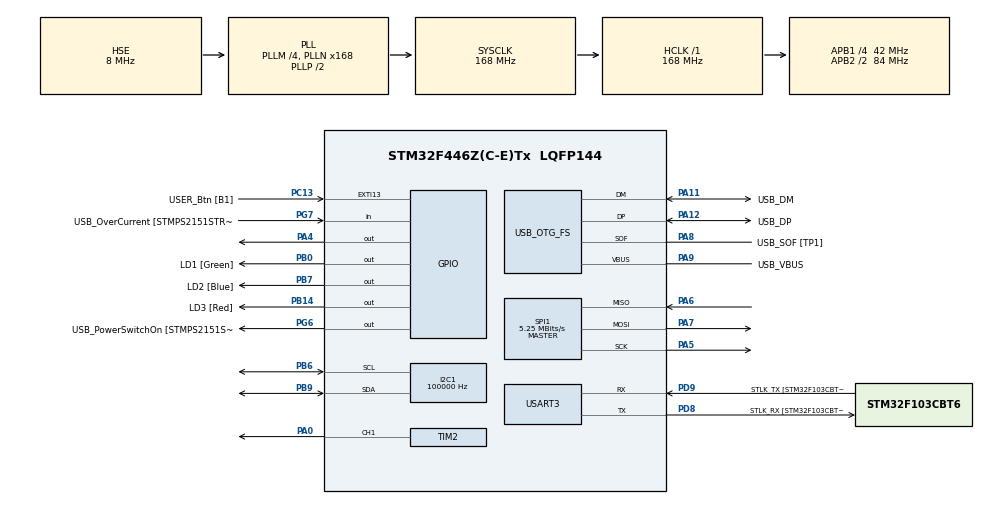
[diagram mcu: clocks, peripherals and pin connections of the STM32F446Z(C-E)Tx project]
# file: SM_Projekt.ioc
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I2C1.ClockSpeed=100000
Mcu.Family=STM32F4
Mcu.Name=STM32F446Z(C-E)Tx
Mcu.Package=LQFP144
NVIC.PriorityGroup=NVIC_PRIORITYGROUP_4
NVIC.SPI1_IRQn=true\:0\:0\:false\:false\:true\:true\:true
NVIC.TIM2_IRQn=true\:0\:0\:false\:false\:true\:true\:true
NVIC.TIM7_IRQn=true\:0\:0\:false\:false\:true\:true\:true
NVIC.USART3_IRQn=true\:0\:0\:false\:false\:true\:true\:true
PA0-WKUP.Signal=S_TIM2_CH1_ETR
PA10.GPIO_Label=USB_ID
PA10.Signal=USB_OTG_FS_ID
PA11.GPIO_Label=USB_DM
PA11.Mode=Device_Only
PA11.Signal=USB_OTG_FS_DM
PA12.GPIO_Label=USB_DP
PA12.Mode=Device_Only
PA12.Signal=USB_OTG_FS_DP
PA13.GPIO_Label=TMS
PA13.Mode=Serial_Wire
PA13.Signal=SYS_JTMS-SWDIO
PA14.GPIO_Label=TCK
PA14.Mode=Serial_Wire
PA14.Signal=SYS_JTCK-SWCLK
PA4.Signal=GPIO_Output
PA5.Mode=Full_Duplex_Master
PA5.Signal=SPI1_SCK
PA6.Mode=Full_Duplex_Master
PA6.Signal=SPI1_MISO
PA7.Mode=Full_Duplex_Master
PA7.Signal=SPI1_MOSI
PA8.GPIO_Label=USB_SOF [TP1]
PA8.Mode=Activate_SOF_FS
PA8.Signal=USB_OTG_FS_SOF
PA9.GPIO_Label=USB_VBUS
PA9.Mode=Activate_VBUS
PA9.Signal=USB_OTG_FS_VBUS
PB0.GPIO_Label=LD1 [Green]
PB0.Signal=GPIO_Output
PB14.GPIO_Label=LD3 [Red]
PB14.Signal=GPIO_Output
PB6.Mode=I2C
PB6.Signal=I2C1_SCL
PB7.GPIO_Label=LD2 [Blue]
PB7.Signal=GPIO_Output
PB9.Mode=I2C
PB9.Signal=I2C1_SDA
PC13.GPIO_Label=USER_Btn [B1]
PC13.Signal=GPXTI13
PC14-OSC32_IN.Mode=LSE-External-Oscillator
PC14-OSC32_IN.Signal=RCC_OSC32_IN
PC15-OSC32_OUT.Mode=LSE-External-Oscillator
PC15-OSC32_OUT.Signal=RCC_OSC32_OUT
PD8.GPIO_Label=STLK_RX [STM32F103CBT6_PA3]
PD8.Mode=Asynchronous
PD8.Signal=USART3_TX
PD9.GPIO_Label=STLK_TX [STM32F103CBT6_PA2]
PD9.Mode=Asynchronous
PD9.Signal=USART3_RX
PG6.GPIO_Label=USB_PowerSwitchOn [STMPS2151STR_EN]
PG6.Signal=GPIO_Output
PG7.GPIO_Label=USB_OverCurrent [STMPS2151STR_FAULT]
PG7.Signal=GPIO_Input
PH0-OSC_IN.GPIO_Label=MCO [STM32F103CBT6_PA8]
PH0-OSC_IN.Mode=HSE-External-Clock-Source
PH0-OSC_IN.Signal=RCC_OSC_IN
PH1-OSC_OUT.Mode=HSE-External-Clock-Source
PH1-OSC_OUT.Signal=RCC_OSC_OUT
ProjectManager.HeapSize=0x200
ProjectManager.StackSize=0x400
ProjectManager.TargetToolchain=STM32CubeIDE
RCC.48MHZClocksFreq_Value=24000000
RCC.AHBFreq_Value=168000000
RCC.APB1CLKDivider=RCC_HCLK_DIV4
RCC.APB1Freq_Value=42000000
RCC.APB1TimFreq_Value=84000000
RCC.APB2CLKDivider=RCC_HCLK_DIV2
RCC.APB2Freq_Value=84000000
RCC.APB2TimFreq_Value=168000000
RCC.CortexFreq_Value=168000000
RCC.HCLKFreq_Value=168000000
RCC.HSE_VALUE=8000000
RCC.HSI_VALUE=16000000
RCC.PLLM=4
RCC.PLLMUL=RCC_PLL_MUL9
RCC.PLLN=168
RCC.PLLQ=7
RCC.PRESCALERUSB=RCC_USBCLKSOURCE_PLL_DIV1_5
RCC.SYSCLKFreq_VALUE=168000000
RCC.SYSCLKSource=RCC_SYSCLKSOURCE_PLLCLK
RCC.SYSCLKSourceVirtual=RCC_SYSCLKSOURCE_PLLCLK
RCC.USBFreq_Value=48000000
RCC.VCOOutputFreq_Value=336000000
SH.S_TIM2_CH1_ETR.0=TIM2_CH1,PWM Generation1 CH1
SPI1.BaudRatePrescaler=SPI_BAUDRATEPRESCALER_16
SPI1.CalculateBaudRate=5.25 MBits/s
SPI1.Direction=SPI_DIRECTION_2LINES
SPI1.Mode=SPI_MODE_MASTER
SPI1.VirtualType=VM_MASTER
TIM2.Channel-PWM\ Generation1\ CH1=TIM_CHANNEL_1
TIM2.Period=999
TIM2.Prescaler=83
TIM7.Period=9999
TIM7.Prescaler=8399
USART3.VirtualMode=VM_ASYNC
USB_OTG_FS.VirtualMode=Device_Only
VP_TIM2_VS_ClockSourceINT.Mode=Internal
VP_TIM7_VS_ClockSourceINT.Mode=Enable_Timer
board=NUCLEO-F446ZE

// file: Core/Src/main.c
/* USER CODE BEGIN Header */
/**
  ******************************************************************************
  * @file           : main.c
  * @brief          : Main program body
  ******************************************************************************
  * @attention
  *
  * Copyright (c) 2022 STMicroelectronics.
  * All rights reserved.
  *
  * This software is licensed under terms that can be found in the LICENSE file
  * in the root directory of this software component.
  * If no LICENSE file comes with this software, it is provided AS-IS.
  *
  ******************************************************************************
  */
/* USER CODE END Header */
#include "main.h"

/* USER CODE BEGIN Includes */
#include "BMPXX80.h"
#include "i2c-lcd.h"
#include "string.h"
#include "stdio.h"
/* USER CODE END Includes */

I2C_HandleTypeDef hi2c1;

SPI_HandleTypeDef hspi1;

TIM_HandleTypeDef htim2;
TIM_HandleTypeDef htim7;

UART_HandleTypeDef huart3;

PCD_HandleTypeDef hpcd_USB_OTG_FS;

/* USER CODE BEGIN PV */
float temperature, pressure, setvalue, duty_f, u;
char text[20];
char lcdtext[20];
char receive[5];

uint16_t duty;

typedef struct{
		float Kp;
		float Ki;
		float Kd;
		float dt;
}pid_parameters;

typedef struct{
	pid_parameters p;
	float previous_err;
	float previous_int;
	float windup;
}pid;

pid pid1 = {.p.Kp = 0.445, .p.Ki = 0.002, .p.Kd = 0.222, .p.dt = 1.0, .previous_err = 0, .previous_int = 0};
/* USER CODE END PV */

void SystemClock_Config(void);
static void MX_GPIO_Init(void);
static void MX_USART3_UART_Init(void);
static void MX_USB_OTG_FS_PCD_Init(void);
static void MX_SPI1_Init(void);
static void MX_I2C1_Init(void);
static void MX_TIM7_Init(void);
static void MX_TIM2_Init(void);

/* USER CODE BEGIN 0 */
void HAL_UART_RxCpltCallback(UART_HandleTypeDef* huart)
{
	sscanf((char*)receive,"%f",&setvalue);
	HAL_UART_Receive_IT(&huart3, (uint8_t*)receive, 5);
}

float PID(pid* pid, float setvalue, float temperature){
	float u = 0, P, I, D, error = 0, integral = 0, derivative = 0;

	if(setvalue != 0){
	error = setvalue - temperature;

	P = pid->p.Kp * error;

	integral = pid->previous_int + (error +(3*pid->windup)+ pid->previous_err);
	pid->previous_int = integral;
	I = pid->p.Ki * integral * (pid->p.dt/2.0);

	derivative = (error - pid->previous_err)/pid->p.dt;
	pid->previous_err = error;
	D = pid->p.Kd * derivative;

	u = P + I + D;
	}
	return u;
}

void HAL_TIM_PeriodElapsedCallback(TIM_HandleTypeDef* htim)
{
	if(htim->Instance == TIM7){
		 	  duty_f = 0;
			  BMP280_ReadTemperatureAndPressure(&temperature, &pressure);
			  u=PID(&pid1, setvalue, temperature);
			  if(u > 1){
					pid1.windup = 1.0 - u;
					duty_f = 999.0;
				}
				else if(u < 0){
					pid1.windup = 0.0 - u;
					duty_f = 0;
				}
				else{
					pid1.windup = 0.0;
					duty_f = 999 * u;
				}
			  duty = (uint16_t) duty_f;
			  __HAL_TIM_SET_COMPARE(&htim2, TIM_CHANNEL_1, duty);
			  sprintf((char*)text, "%.2f, %u, \n\r", temperature, duty);
			  //sprintf((char*)text, "%.2f, ", temperature);
			  HAL_UART_Transmit_IT(&huart3, (uint8_t*)text, strlen(text));

	}
}
/* USER CODE END 0 */

int main(void)
{

  /* MCU Configuration--------------------------------------------------------*/

  /* Reset of all peripherals, Initializes the Flash interface and the Systick. */
  HAL_Init();

  /* Configure the system clock */
  SystemClock_Config();

  /* Initialize all configured peripherals */
  MX_GPIO_Init();
  MX_USART3_UART_Init();
  MX_USB_OTG_FS_PCD_Init();
  MX_SPI1_Init();
  MX_I2C1_Init();
  MX_TIM7_Init();
  MX_TIM2_Init();
  /* USER CODE BEGIN 2 */
  BMP280_Init(&hspi1, BMP280_TEMPERATURE_16BIT, BMP280_STANDARD, BMP280_FORCEDMODE);
  lcd_init();
  HAL_TIM_Base_Start_IT(&htim7);
  HAL_TIM_PWM_Start(&htim2, TIM_CHANNEL_1);
  HAL_UART_Receive_IT(&huart3, (uint8_t*)receive, 4);
  /* USER CODE END 2 */

  /* Infinite loop */
  /* USER CODE BEGIN WHILE */
  while (1)
  {
	  lcd_clear ();
	  lcd_put_cur(0, 0);
	  sprintf((char*)text, "Temp. %.2f C", temperature);
	  lcd_send_string(text);

	  lcd_put_cur(1, 0);
	  sprintf((char*)text, "Set Temp. %.1f C",setvalue);
	  lcd_send_string(text);

	  HAL_Delay(1000);

    /* USER CODE END WHILE */

  }
}

void SystemClock_Config(void)
{
  RCC_OscInitTypeDef RCC_OscInitStruct = {0};
  RCC_ClkInitTypeDef RCC_ClkInitStruct = {0};

  /** Configure the main internal regulator output voltage
  */
  __HAL_RCC_PWR_CLK_ENABLE();
  __HAL_PWR_VOLTAGESCALING_CONFIG(PWR_REGULATOR_VOLTAGE_SCALE1);
  /** Initializes the RCC Oscillators according to the specified parameters
  * in the RCC_OscInitTypeDef structure.
  */
  RCC_OscInitStruct.OscillatorType = RCC_OSCILLATORTYPE_HSE;
  RCC_OscInitStruct.HSEState = RCC_HSE_BYPASS;
  RCC_OscInitStruct.PLL.PLLState = RCC_PLL_ON;
  RCC_OscInitStruct.PLL.PLLSource = RCC_PLLSOURCE_HSE;
  RCC_OscInitStruct.PLL.PLLM = 4;
  RCC_OscInitStruct.PLL.PLLN = 168;
  RCC_OscInitStruct.PLL.PLLP = RCC_PLLP_DIV2;
  RCC_OscInitStruct.PLL.PLLQ = 7;
  RCC_OscInitStruct.PLL.PLLR = 2;
  if (HAL_RCC_OscConfig(&RCC_OscInitStruct) != HAL_OK)
  {
    Error_Handler();
  }
  /** Initializes the CPU, AHB and APB buses clocks
  */
  RCC_ClkInitStruct.ClockType = RCC_CLOCKTYPE_HCLK|RCC_CLOCKTYPE_SYSCLK
                              |RCC_CLOCKTYPE_PCLK1|RCC_CLOCKTYPE_PCLK2;
  RCC_ClkInitStruct.SYSCLKSource = RCC_SYSCLKSOURCE_PLLCLK;
  RCC_ClkInitStruct.AHBCLKDivider = RCC_SYSCLK_DIV1;
  RCC_ClkInitStruct.APB1CLKDivider = RCC_HCLK_DIV4;
  RCC_ClkInitStruct.APB2CLKDivider = RCC_HCLK_DIV2;

  if (HAL_RCC_ClockConfig(&RCC_ClkInitStruct, FLASH_LATENCY_5) != HAL_OK)
  {
    Error_Handler();
  }
}

static void MX_I2C1_Init(void)
{

  hi2c1.Instance = I2C1;
  hi2c1.Init.ClockSpeed = 100000;
  hi2c1.Init.DutyCycle = I2C_DUTYCYCLE_2;
  hi2c1.Init.OwnAddress1 = 0;
  hi2c1.Init.AddressingMode = I2C_ADDRESSINGMODE_7BIT;
  hi2c1.Init.DualAddressMode = I2C_DUALADDRESS_DISABLE;
  hi2c1.Init.OwnAddress2 = 0;
  hi2c1.Init.GeneralCallMode = I2C_GENERALCALL_DISABLE;
  hi2c1.Init.NoStretchMode = I2C_NOSTRETCH_DISABLE;
  if (HAL_I2C_Init(&hi2c1) != HAL_OK)
  {
    Error_Handler();
  }

}

static void MX_SPI1_Init(void)
{

  /* SPI1 parameter configuration*/
  hspi1.Instance = SPI1;
  hspi1.Init.Mode = SPI_MODE_MASTER;
  hspi1.Init.Direction = SPI_DIRECTION_2LINES;
  hspi1.Init.DataSize = SPI_DATASIZE_8BIT;
  hspi1.Init.CLKPolarity = SPI_POLARITY_LOW;
  hspi1.Init.CLKPhase = SPI_PHASE_1EDGE;
  hspi1.Init.NSS = SPI_NSS_SOFT;
  hspi1.Init.BaudRatePrescaler = SPI_BAUDRATEPRESCALER_16;
  hspi1.Init.FirstBit = SPI_FIRSTBIT_MSB;
  hspi1.Init.TIMode = SPI_TIMODE_DISABLE;
  hspi1.Init.CRCCalculation = SPI_CRCCALCULATION_DISABLE;
  hspi1.Init.CRCPolynomial = 10;
  if (HAL_SPI_Init(&hspi1) != HAL_OK)
  {
    Error_Handler();
  }

}

static void MX_TIM2_Init(void)
{

  TIM_ClockConfigTypeDef sClockSourceConfig = {0};
  TIM_MasterConfigTypeDef sMasterConfig = {0};
  TIM_OC_InitTypeDef sConfigOC = {0};

  htim2.Instance = TIM2;
  htim2.Init.Prescaler = 83;
  htim2.Init.CounterMode = TIM_COUNTERMODE_UP;
  htim2.Init.Period = 999;
  htim2.Init.ClockDivision = TIM_CLOCKDIVISION_DIV1;
  htim2.Init.AutoReloadPreload = TIM_AUTORELOAD_PRELOAD_DISABLE;
  if (HAL_TIM_Base_Init(&htim2) != HAL_OK)
  {
    Error_Handler();
  }
  sClockSourceConfig.ClockSource = TIM_CLOCKSOURCE_INTERNAL;
  if (HAL_TIM_ConfigClockSource(&htim2, &sClockSourceConfig) != HAL_OK)
  {
    Error_Handler();
  }
  if (HAL_TIM_PWM_Init(&htim2) != HAL_OK)
  {
    Error_Handler();
  }
  sMasterConfig.MasterOutputTrigger = TIM_TRGO_RESET;
  sMasterConfig.MasterSlaveMode = TIM_MASTERSLAVEMODE_DISABLE;
  if (HAL_TIMEx_MasterConfigSynchronization(&htim2, &sMasterConfig) != HAL_OK)
  {
    Error_Handler();
  }
  sConfigOC.OCMode = TIM_OCMODE_PWM1;
  sConfigOC.Pulse = 0;
  sConfigOC.OCPolarity = TIM_OCPOLARITY_HIGH;
  sConfigOC.OCFastMode = TIM_OCFAST_DISABLE;
  if (HAL_TIM_PWM_ConfigChannel(&htim2, &sConfigOC, TIM_CHANNEL_1) != HAL_OK)
  {
    Error_Handler();
  }
  HAL_TIM_MspPostInit(&htim2);

}

static void MX_TIM7_Init(void)
{

  TIM_MasterConfigTypeDef sMasterConfig = {0};

  htim7.Instance = TIM7;
  htim7.Init.Prescaler = 8399;
  htim7.Init.CounterMode = TIM_COUNTERMODE_UP;
  htim7.Init.Period = 9999;
  htim7.Init.AutoReloadPreload = TIM_AUTORELOAD_PRELOAD_DISABLE;
  if (HAL_TIM_Base_Init(&htim7) != HAL_OK)
  {
    Error_Handler();
  }
  sMasterConfig.MasterOutputTrigger = TIM_TRGO_RESET;
  sMasterConfig.MasterSlaveMode = TIM_MASTERSLAVEMODE_DISABLE;
  if (HAL_TIMEx_MasterConfigSynchronization(&htim7, &sMasterConfig) != HAL_OK)
  {
    Error_Handler();
  }

}

static void MX_USART3_UART_Init(void)
{

  huart3.Instance = USART3;
  huart3.Init.BaudRate = 115200;
  huart3.Init.WordLength = UART_WORDLENGTH_8B;
  huart3.Init.StopBits = UART_STOPBITS_1;
  huart3.Init.Parity = UART_PARITY_NONE;
  huart3.Init.Mode = UART_MODE_TX_RX;
  huart3.Init.HwFlowCtl = UART_HWCONTROL_NONE;
  huart3.Init.OverSampling = UART_OVERSAMPLING_16;
  if (HAL_UART_Init(&huart3) != HAL_OK)
  {
    Error_Handler();
  }

}

static void MX_USB_OTG_FS_PCD_Init(void)
{

  hpcd_USB_OTG_FS.Instance = USB_OTG_FS;
  hpcd_USB_OTG_FS.Init.dev_endpoints = 6;
  hpcd_USB_OTG_FS.Init.speed = PCD_SPEED_FULL;
  hpcd_USB_OTG_FS.Init.dma_enable = DISABLE;
  hpcd_USB_OTG_FS.Init.phy_itface = PCD_PHY_EMBEDDED;
  hpcd_USB_OTG_FS.Init.Sof_enable = ENABLE;
  hpcd_USB_OTG_FS.Init.low_power_enable = DISABLE;
  hpcd_USB_OTG_FS.Init.lpm_enable = DISABLE;
  hpcd_USB_OTG_FS.Init.vbus_sensing_enable = ENABLE;
  hpcd_USB_OTG_FS.Init.use_dedicated_ep1 = DISABLE;
  if (HAL_PCD_Init(&hpcd_USB_OTG_FS) != HAL_OK)
  {
    Error_Handler();
  }

}

static void MX_GPIO_Init(void)
{
  GPIO_InitTypeDef GPIO_InitStruct = {0};

  /* GPIO Ports Clock Enable */
  __HAL_RCC_GPIOC_CLK_ENABLE();
  __HAL_RCC_GPIOH_CLK_ENABLE();
  __HAL_RCC_GPIOA_CLK_ENABLE();
  __HAL_RCC_GPIOB_CLK_ENABLE();
  __HAL_RCC_GPIOD_CLK_ENABLE();
  __HAL_RCC_GPIOG_CLK_ENABLE();

  /*Configure GPIO pin Output Level */
  HAL_GPIO_WritePin(GPIOA, GPIO_PIN_4, GPIO_PIN_RESET);

  /*Configure GPIO pin Output Level */
  HAL_GPIO_WritePin(GPIOB, LD1_Pin|LD3_Pin|LD2_Pin, GPIO_PIN_RESET);

  /*Configure GPIO pin Output Level */
  HAL_GPIO_WritePin(USB_PowerSwitchOn_GPIO_Port, USB_PowerSwitchOn_Pin, GPIO_PIN_RESET);

  /*Configure GPIO pin : USER_Btn_Pin */
  GPIO_InitStruct.Pin = USER_Btn_Pin;
  GPIO_InitStruct.Mode = GPIO_MODE_IT_RISING;
  GPIO_InitStruct.Pull = GPIO_NOPULL;
  HAL_GPIO_Init(USER_Btn_GPIO_Port, &GPIO_InitStruct);

  /*Configure GPIO pin : PA4 */
  GPIO_InitStruct.Pin = GPIO_PIN_4;
  GPIO_InitStruct.Mode = GPIO_MODE_OUTPUT_PP;
  GPIO_InitStruct.Pull = GPIO_NOPULL;
  GPIO_InitStruct.Speed = GPIO_SPEED_FREQ_LOW;
  HAL_GPIO_Init(GPIOA, &GPIO_InitStruct);

  /*Configure GPIO pins : LD1_Pin LD3_Pin LD2_Pin */
  GPIO_InitStruct.Pin = LD1_Pin|LD3_Pin|LD2_Pin;
  GPIO_InitStruct.Mode = GPIO_MODE_OUTPUT_PP;
  GPIO_InitStruct.Pull = GPIO_NOPULL;
  GPIO_InitStruct.Speed = GPIO_SPEED_FREQ_LOW;
  HAL_GPIO_Init(GPIOB, &GPIO_InitStruct);

  /*Configure GPIO pin : USB_PowerSwitchOn_Pin */
  GPIO_InitStruct.Pin = USB_PowerSwitchOn_Pin;
  GPIO_InitStruct.Mode = GPIO_MODE_OUTPUT_PP;
  GPIO_InitStruct.Pull = GPIO_NOPULL;
  GPIO_InitStruct.Speed = GPIO_SPEED_FREQ_LOW;
  HAL_GPIO_Init(USB_PowerSwitchOn_GPIO_Port, &GPIO_InitStruct);

  /*Configure GPIO pin : USB_OverCurrent_Pin */
  GPIO_InitStruct.Pin = USB_OverCurrent_Pin;
  GPIO_InitStruct.Mode = GPIO_MODE_INPUT;
  GPIO_InitStruct.Pull = GPIO_NOPULL;
  HAL_GPIO_Init(USB_OverCurrent_GPIO_Port, &GPIO_InitStruct);

}

void Error_Handler(void)
{
  __disable_irq();
  while (1)
  {
  }
}
